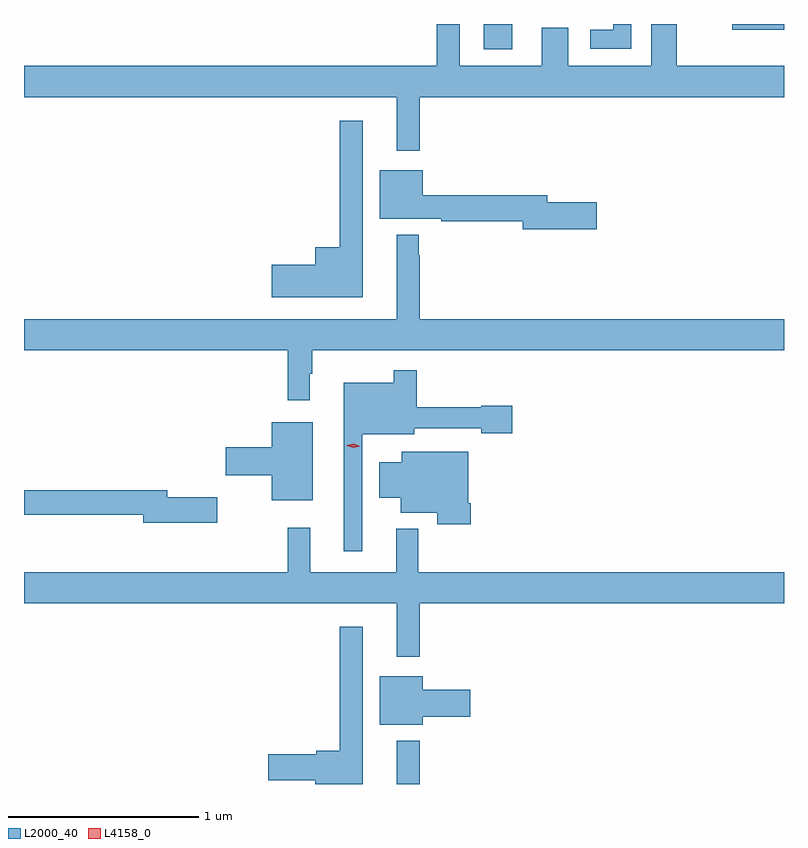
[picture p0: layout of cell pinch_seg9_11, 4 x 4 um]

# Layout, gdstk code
import gdstk
lib = gdstk.Library(unit=1e-6, precision=1e-09)
def R(c, l, rs):  # rectangles x0, y0, x1, y1
    for r in rs: c.add(gdstk.rectangle(r[:2], r[2:], *l))
def P(c, l, *ps):  # polygons
    for p in ps: c.add(gdstk.Polygon(p, *l))
L2000_40 = (2000, 40)
L4158_0 = (4158, 0)

pinch_seg9_11 = lib.new_cell('pinch_seg9_11')
R(pinch_seg9_11, L2000_40, [(1024.043,1228.769,1024.165,1228.996), (1024.502,1232.637,1024.651,1232.769), (1025.808,1232.738,1026.081,1232.769)])
P(pinch_seg9_11, L2000_40, [(1024.165,1232.384),(1026.081,1232.384),(1026.081,1232.548),(1025.516,1232.548),(1025.516,1232.769),(1025.381,1232.769),(1025.381,1232.548),(1024.945,1232.548),(1024.945,1232.749),(1024.805,1232.749),(1024.805,1232.548),(1024.375,1232.548),(1024.375,1232.769),(1024.254,1232.769),(1024.254,1232.548),(1022.081,1232.548),(1022.081,1232.384),(1024.043,1232.384),(1024.043,1232.103),(1024.165,1232.103)],
  [(1025.277,1232.769),(1025.181,1232.769),(1025.181,1232.74),(1025.061,1232.74),(1025.061,1232.639),(1025.277,1232.639)],
  [(1023.865,1232.26),(1023.744,1232.26),(1023.744,1231.594),(1023.614,1231.594),(1023.614,1231.502),(1023.384,1231.502),(1023.384,1231.331),(1023.865,1231.331)],
  [(1025.095,1231.832),(1024.834,1231.832),(1024.834,1231.868),(1024.18,1231.868),(1024.18,1231.999),(1023.953,1231.999),(1023.953,1231.745),(1024.276,1231.745),(1024.276,1231.732),(1024.706,1231.732),(1024.706,1231.69),(1025.095,1231.69)],
  [(1023.586,1230.929),(1023.598,1230.929),(1023.598,1231.052),(1026.081,1231.052),(1026.081,1231.216),(1024.165,1231.216),(1024.165,1231.553),(1024.158,1231.553),(1024.158,1231.66),(1024.043,1231.66),(1024.043,1231.216),(1022.081,1231.216),(1022.081,1231.052),(1023.469,1231.052),(1023.469,1230.789),(1023.586,1230.789)],
  [(1023.861,1230.611),(1024.135,1230.611),(1024.135,1230.642),(1024.488,1230.642),(1024.488,1230.614),(1024.651,1230.614),(1024.651,1230.759),(1024.488,1230.759),(1024.488,1230.751),(1024.147,1230.751),(1024.147,1230.946),(1024.026,1230.946),(1024.026,1230.88),(1023.764,1230.88),(1023.764,1229.994),(1023.861,1229.994)],
  [(1023.601,1230.673),(1023.386,1230.673),(1023.386,1230.542),(1023.144,1230.542),(1023.144,1230.395),(1023.386,1230.395),(1023.386,1230.263),(1023.601,1230.263)],
  [(1024.433,1230.247),(1024.42,1230.247),(1024.42,1230.517),(1024.07,1230.517),(1024.07,1230.463),(1023.95,1230.463),(1023.95,1230.275),(1024.064,1230.275),(1024.064,1230.197),(1024.255,1230.197),(1024.255,1230.135),(1024.433,1230.135)],
  [(1023.097,1230.278),(1022.836,1230.278),(1022.836,1230.314),(1022.081,1230.314),(1022.081,1230.186),(1022.708,1230.186),(1022.708,1230.143),(1023.097,1230.143)],
  [(1024.165,1229.72),(1026.081,1229.72),(1026.081,1229.884),(1024.157,1229.884),(1024.157,1230.112),(1024.04,1230.112),(1024.04,1229.884),(1023.587,1229.884),(1023.587,1230.118),(1023.469,1230.118),(1023.469,1229.884),(1022.081,1229.884),(1022.081,1229.72),(1024.043,1229.72),(1024.043,1229.439),(1024.165,1229.439)],
  [(1023.865,1229.596),(1023.744,1229.596),(1023.744,1228.943),(1023.618,1228.943),(1023.618,1228.925),(1023.366,1228.925),(1023.366,1228.79),(1023.614,1228.79),(1023.614,1228.769),(1023.865,1228.769)],
  [(1024.18,1229.123),(1024.429,1229.123),(1024.429,1229.265),(1024.18,1229.265),(1024.18,1229.335),(1023.953,1229.335),(1023.953,1229.081),(1024.18,1229.081)])
P(pinch_seg9_11, L4158_0, [(1023.815,1230.539),(1023.78,1230.55),(1023.78,1230.55),(1023.78,1230.551),(1023.816,1230.559),(1023.851,1230.547),(1023.851,1230.547),(1023.851,1230.547)])

lib.write_gds('pinch_seg9_11.gds')
